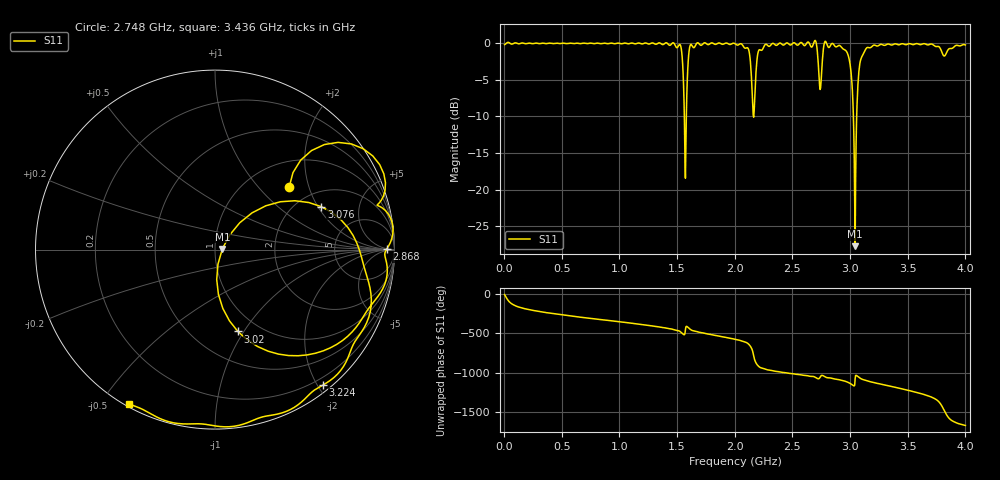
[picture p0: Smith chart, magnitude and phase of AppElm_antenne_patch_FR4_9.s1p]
! TOUCHSTONE file generated by CST MICROWAVE STUDIO
! Date and time: Tue Jun 14 11:27:54 2022
! Project name: AppElm_antenne_patch_FR4.cst
! Parameters = {L=45; W=67.275; e=0.035; h=1.6; lambda=0.190476; ls=120; w0=2.54; w1=0.847; ws=120; y0=18; y1=23.8}
! Header version: 2018
! Port assignment regex: !\s*Touchstone port\s*([0-9]+)\s*=\s*(CST MWS port|CST DS port)\s*([0-9]+|Zmin|Zmax)\s*\(\"(.*)\"\)(\s*mode\s*([0-9]+))?.*
! Touchstone port assignment:
! Touchstone port 1 = CST MWS port 1 ("")
# GHz S MA R 50
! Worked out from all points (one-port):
!   1000 points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, 4 MHz to 4 GHz, reference 50 ohm
!   lowest |S11| = -27.7 dB at 3.044 GHz (marker M1), VSWR 1.09, Z = 54.3 + j0.355 ohm
!   |S11| at or under -10 dB: 1.563 GHz to 1.58 GHz (17.37 MHz wide, 1.11 % of centre); 2.162626 GHz to 2.164496 GHz (1.87 MHz wide, 0.0864 % of centre); 3.029 GHz to 3.057 GHz (28.69 MHz wide, 0.943 % of centre)
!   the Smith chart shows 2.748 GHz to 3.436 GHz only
!   S11 on the Smith chart (normalised r, x): 2.748 GHz: 1.52, +1.50; 2.868 GHz: 46, +5; 3.02 GHz: 0.80, -0.94; 3.076 GHz: 2.65, +2.14; 3.224 GHz: 0.10, -2.08; 3.436 GHz: 0.01, -0.59
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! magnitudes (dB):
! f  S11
! 4 MHz  -0.2
! 504 MHz  0.0
! 1.004 GHz  0.0
! 1.504 GHz  -0.5
! 1.536 GHz  -0.7
! 1.572 GHz  -18.5
! 1.604 GHz  -1.0
! 1.624 GHz  -0.2
! 2.004 GHz  -0.1
! 2.112 GHz  -0.6
! 2.164 GHz  -10.1
! 2.22 GHz  -0.9
! 2.504 GHz  0.0
! 2.696 GHz  0.4
! 2.748 GHz  -5.3
! 2.784 GHz  0.3
! 2.868 GHz  -0.4
! 3.004 GHz  -3.3
! 3.02 GHz  -6.5
! 3.028 GHz  -9.6
! 3.044 GHz  -27.7
! 3.06 GHz  -8.5
! 3.076 GHz  -3.9
! 3.12 GHz  -1.3
! 3.224 GHz  -0.3
! 3.436 GHz  -0.1
! 3.504 GHz  -0.1
! 4 GHz  -0.2
